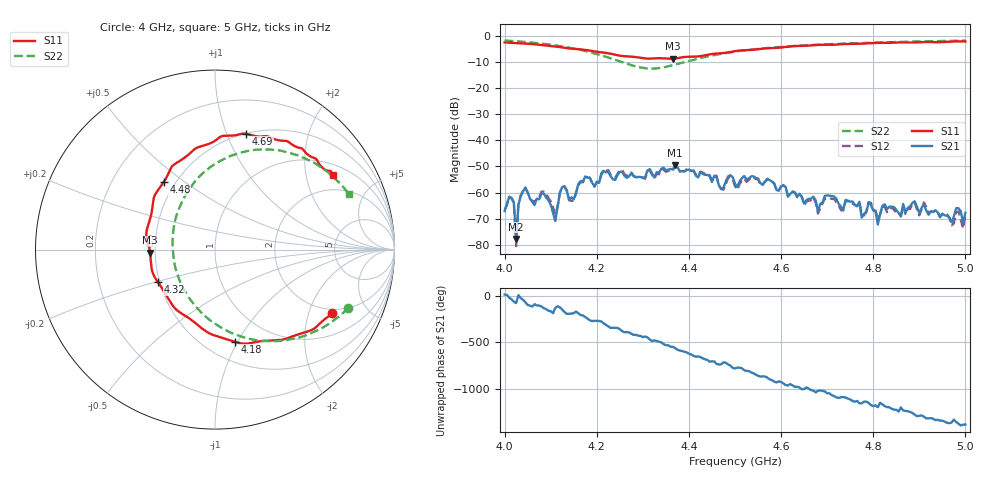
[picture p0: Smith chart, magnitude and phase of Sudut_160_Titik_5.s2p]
# Hz S RI R 50
! CMT, C1220, 16058040, 17.2.0/1
! Date: 15/08/2018 12:20:59
! Data: Format (Calibration Info)
! Freq  S11: Re/Im (F2)  S21: Re/Im (F2)  S12: Re/Im (F2)  S22: Re/Im (F2)
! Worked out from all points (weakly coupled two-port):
!   201 points, 4 GHz to 5 GHz, reference 50 ohm
!   highest |S21| = -49.55 dB at 4.37 GHz (marker M1); lowest = -77.7 dB at 4.025 GHz (marker M2)
!   lowest |S11| = -8.8 dB at 4.365 GHz (marker M3), VSWR 2.13, Z = 23.5 - j0.954 ohm
!   |S11| at or under -10 dB: nowhere
!   |S22| runs from -12.6 to -1.8 dB; largest |S21 - S12| = 0.00025
!   S11 on the Smith chart (normalised r, x): 4 GHz: 1.81, -2.89; 4.18 GHz: 0.69, -0.98; 4.32 GHz: 0.49, -0.20; 4.48 GHz: 0.43, +0.42; 4.69 GHz: 0.50, +1.17; 5 GHz: 1.38, +2.87
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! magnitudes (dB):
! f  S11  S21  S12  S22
! 4 GHz  -2.6  -67.0  -66.6  -1.8
! 4.02 GHz  -2.8  -63.7  -63.9  -2.1
! 4.025 GHz  -2.8  -77.7  -80.5  -2.1
! 4.03 GHz  -2.9  -64.7  -64.5  -2.2
! 4.045 GHz  -3.0  -58.1  -58.1  -2.4
! 4.11 GHz  -4.1  -70.8  -68.2  -3.7
! 4.125 GHz  -4.5  -57.9  -58.0  -4.1
! 4.15 GHz  -5.0  -62.6  -63.2  -4.9
! 4.17 GHz  -5.3  -55.7  -56.1  -5.6
! 4.18 GHz  -5.6  -54.2  -54.2  -6.1
! 4.32 GHz  -8.7  -52.7  -53.1  -12.6
! 4.335 GHz  -8.6  -52.4  -53.0  -12.4
! 4.365 GHz  -8.8  -51.2  -51.7  -11.2
! 4.37 GHz  -8.7  -49.5  -49.6  -11.0
! 4.48 GHz  -6.5  -55.7  -56.8  -6.6
! 4.5 GHz  -5.9  -56.5  -57.6  -6.1
! 4.67 GHz  -3.6  -61.6  -62.0  -3.5
! 4.69 GHz  -3.5  -63.7  -64.2  -3.4
! 4.79 GHz  -2.9  -63.7  -63.6  -2.7
! 4.81 GHz  -2.8  -72.2  -70.0  -2.6
! 4.835 GHz  -2.7  -65.4  -66.7  -2.5
! 5 GHz  -2.2  -67.7  -68.8  -1.9
